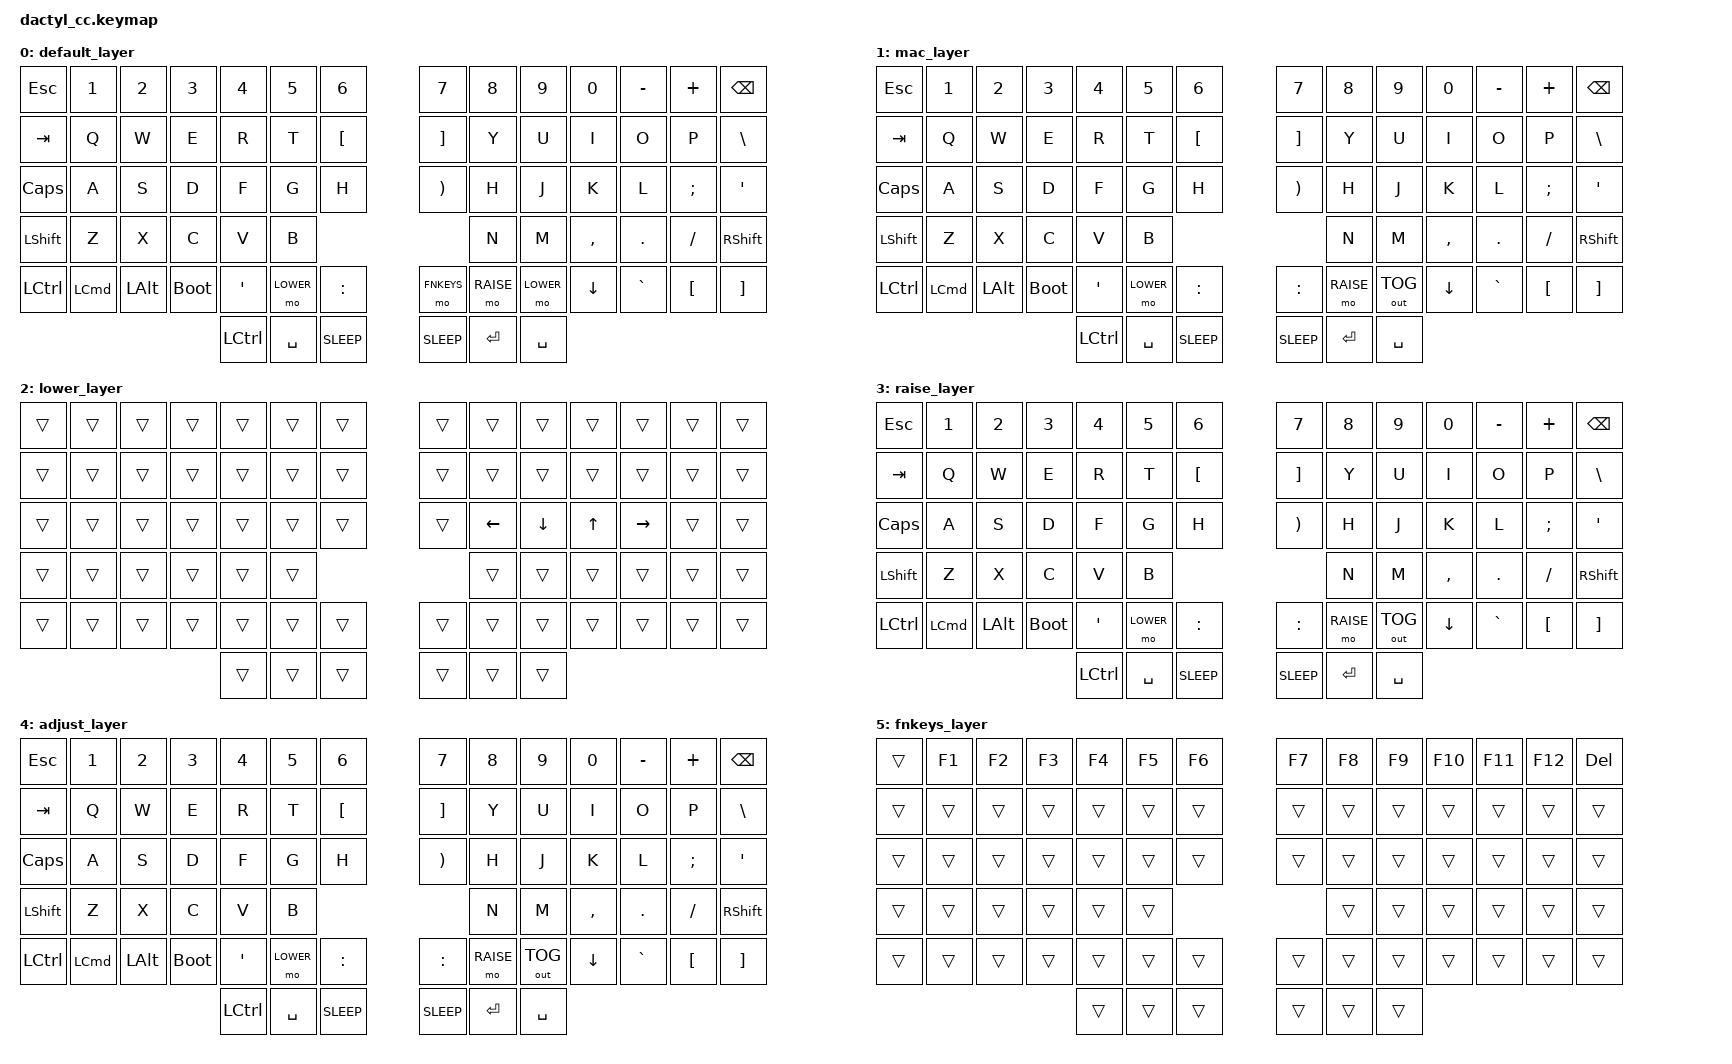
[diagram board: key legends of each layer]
#include <behaviors.dtsi>
#include <dt-bindings/zmk/keys.h>
#include <dt-bindings/zmk/bt.h>
#include <dt-bindings/zmk/outputs.h>

#define DEFAULT 0
#define MAC     1
#define LOWER   2
#define RAISE   3
#define ADJUST  4
#define FNKEYS  5

#define HYPER(key) LS(LC(LA(LG(key))))
#define MEH(key)   LS(LC(LA(key)))

&sl {
    release-after-ms = <5000>;
};


&kscan0 {
    debounce-press-ms = <30>;
    debounce-release-ms = <30>;
};

/ {
    keymap {
        compatible = "zmk,keymap";

        default_layer {
            bindings = <
    &kp ESC    &kp N1    &kp N2    &kp N3       &kp N4    &kp N5     &kp N6                  &kp N7              &kp N8       &kp N9       &kp N0     &kp MINUS &kp PLUS  &kp BSPC
    &kp TAB    &kp Q     &kp W     &kp E        &kp R     &kp T      &kp LEFT_BRACKET        &kp RIGHT_BRACKET   &kp Y        &kp U        &kp I      &kp O     &kp P     &kp BACKSLASH
    &kp CAPS   &kp A     &kp S     &kp D        &kp F     &kp G      &kp H                   &kp RPAR            &kp H        &kp J        &kp K      &kp L     &kp SEMI  &kp SQT
    &kp LSHFT  &kp Z     &kp X     &kp C        &kp V     &kp B                                                  &kp N        &kp M        &kp COMMA  &kp DOT   &kp FSLH  &kp RSHFT
    &kp LCTRL  &kp LCMD  &kp LALT  &bootloader  &kp SQT   &mo LOWER  &kp COLON               &mo FNKEYS          &mo RAISE    &mo LOWER    &kp DOWN   &kp GRAVE &kp LBKT  &kp RBKT
                                                &kp LCTRL &kp SPACE  &kp K_SLEEP             &kp C_SLEEP         &kp RET      &kp SPACE
            >;
        };

        mac_layer {
            bindings = <
    &kp ESC    &kp N1    &kp N2    &kp N3       &kp N4    &kp N5     &kp N6                  &kp N7              &kp N8       &kp N9       &kp N0     &kp MINUS &kp PLUS  &kp BSPC
    &kp TAB    &kp Q     &kp W     &kp E        &kp R     &kp T      &kp LEFT_BRACKET        &kp RIGHT_BRACKET   &kp Y        &kp U        &kp I      &kp O     &kp P     &kp BACKSLASH
    &kp CAPS   &kp A     &kp S     &kp D        &kp F     &kp G      &kp H                   &kp RPAR            &kp H        &kp J        &kp K      &kp L     &kp SEMI  &kp SQT
    &kp LSHFT  &kp Z     &kp X     &kp C        &kp V     &kp B                                                  &kp N        &kp M        &kp COMMA  &kp DOT   &kp FSLH  &kp RSHFT
    &kp LCTRL  &kp LCMD  &kp LALT  &bootloader  &kp SQT   &mo LOWER  &kp COLON               &kp COLON           &mo RAISE    &out OUT_TOG &kp DOWN   &kp GRAVE &kp LBKT  &kp RBKT
                                                &kp LCTRL &kp SPACE  &kp K_SLEEP             &kp C_SLEEP         &kp RET      &kp SPACE
            >;
        };

        lower_layer {
            bindings = <
    &trans &trans &trans &trans &trans &trans &trans      &trans &trans    &trans    &trans    &trans     &trans  &trans
    &trans &trans &trans &trans &trans &trans &trans      &trans &trans    &trans    &trans    &trans     &trans  &trans
    &trans &trans &trans &trans &trans &trans &trans      &trans &kp LEFT  &kp DOWN  &kp UP    &kp RIGHT  &trans  &trans
    &trans &trans &trans &trans &trans &trans                    &trans    &trans    &trans    &trans     &trans  &trans
    &trans &trans &trans &trans &trans &trans &trans      &trans &trans    &trans    &trans    &trans     &trans  &trans
                                &trans &trans &trans      &trans &trans   &trans
            >;       };

        raise_layer {
            bindings = <
    &kp ESC    &kp N1    &kp N2    &kp N3       &kp N4    &kp N5     &kp N6                  &kp N7              &kp N8       &kp N9       &kp N0     &kp MINUS &kp PLUS  &kp BSPC
    &kp TAB    &kp Q     &kp W     &kp E        &kp R     &kp T      &kp LEFT_BRACKET        &kp RIGHT_BRACKET   &kp Y        &kp U        &kp I      &kp O     &kp P     &kp BACKSLASH
    &kp CAPS   &kp A     &kp S     &kp D        &kp F     &kp G      &kp H                   &kp RPAR            &kp H        &kp J        &kp K      &kp L     &kp SEMI  &kp SQT
    &kp LSHFT  &kp Z     &kp X     &kp C        &kp V     &kp B                                                  &kp N        &kp M        &kp COMMA  &kp DOT   &kp FSLH  &kp RSHFT
    &kp LCTRL  &kp LCMD  &kp LALT  &bootloader  &kp SQT   &mo LOWER  &kp COLON               &kp COLON           &mo RAISE    &out OUT_TOG &kp DOWN   &kp GRAVE &kp LBKT  &kp RBKT
                                                &kp LCTRL &kp SPACE  &kp K_SLEEP             &kp C_SLEEP         &kp RET      &kp SPACE
            >;
        };

        adjust_layer {
            bindings = <
    &kp ESC    &kp N1    &kp N2    &kp N3       &kp N4    &kp N5     &kp N6                  &kp N7              &kp N8       &kp N9       &kp N0     &kp MINUS &kp PLUS  &kp BSPC
    &kp TAB    &kp Q     &kp W     &kp E        &kp R     &kp T      &kp LEFT_BRACKET        &kp RIGHT_BRACKET   &kp Y        &kp U        &kp I      &kp O     &kp P     &kp BACKSLASH
    &kp CAPS   &kp A     &kp S     &kp D        &kp F     &kp G      &kp H                   &kp RPAR            &kp H        &kp J        &kp K      &kp L     &kp SEMI  &kp SQT
    &kp LSHFT  &kp Z     &kp X     &kp C        &kp V     &kp B                                                  &kp N        &kp M        &kp COMMA  &kp DOT   &kp FSLH  &kp RSHFT
    &kp LCTRL  &kp LCMD  &kp LALT  &bootloader  &kp SQT   &mo LOWER  &kp COLON               &kp COLON           &mo RAISE    &out OUT_TOG &kp DOWN   &kp GRAVE &kp LBKT  &kp RBKT
                                                &kp LCTRL &kp SPACE  &kp K_SLEEP             &kp C_SLEEP         &kp RET      &kp SPACE
            >;
        };

        fnkeys_layer {
            bindings = <
    &trans &kp F1 &kp F2 &kp F3 &kp F4 &kp F5 &kp F6      &kp F7 &kp F8 &kp F9 &kp F10 &kp F11 &kp F12 &kp DEL
    &trans &trans &trans &trans &trans &trans &trans      &trans &trans &trans &trans  &trans  &trans  &trans
    &trans &trans &trans &trans &trans &trans &trans      &trans &trans &trans &trans  &trans  &trans  &trans
    &trans &trans &trans &trans &trans &trans                    &trans &trans &trans  &trans  &trans  &trans
    &trans &trans &trans &trans &trans &trans &trans      &trans &trans &trans &trans  &trans  &trans  &trans
                                &trans &trans &trans      &trans &trans &trans
            >;
        };
    };
};
